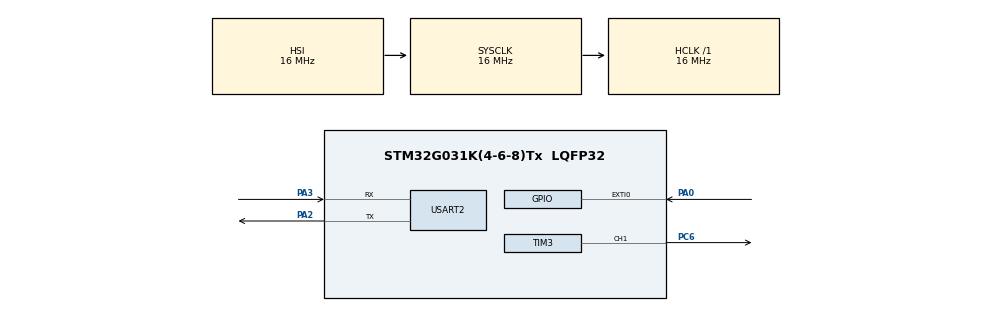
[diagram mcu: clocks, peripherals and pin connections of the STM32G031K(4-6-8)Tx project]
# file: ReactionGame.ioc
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Mcu.Family=STM32G0
Mcu.Name=STM32G031K(4-6-8)Tx
Mcu.Package=LQFP32
NVIC.EXTI0_1_IRQn=true\:0\:0\:false\:false\:true\:true\:true\:true
PA0.GPIO_PuPd=GPIO_PULLDOWN
PA0.Signal=GPXTI0
PA2.Mode=Asynchronous
PA2.Signal=USART2_TX
PA3.Mode=Asynchronous
PA3.Signal=USART2_RX
PC6.Signal=S_TIM3_CH1
ProjectManager.HeapSize=0x200
ProjectManager.StackSize=0x400
ProjectManager.TargetToolchain=STM32CubeIDE
RCC.AHBFreq_Value=16000000
RCC.CortexFreq_Value=16000000
RCC.EXTERNAL_CLOCK_VALUE=12288000
RCC.HCLKFreq_Value=16000000
RCC.HSE_VALUE=8000000
RCC.HSI_VALUE=16000000
RCC.LSE_VALUE=32768
RCC.SYSCLKFreq_VALUE=16000000
RCC.VCOOutputFreq_Value=128000000
SH.S_TIM3_CH1.0=TIM3_CH1,PWM Generation1 CH1
TIM3.Channel-PWM\ Generation1\ CH1=TIM_CHANNEL_1
TIM3.Period=1000
TIM3.Prescaler=15
USART2.VirtualMode-Asynchronous=VM_ASYNC
VP_TIM3_VS_ClockSourceINT.Mode=Internal
board=NUCLEO-G031K8

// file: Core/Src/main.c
/* USER CODE BEGIN Header */
/**
 ******************************************************************************
 * @file           : main.c
 * @brief          : Main program body
 ******************************************************************************
 * @attention
 *
 * Copyright (c) 2026 STMicroelectronics.
 * All rights reserved.
 *
 * This software is licensed under terms that can be found in the LICENSE file
 * in the root directory of this software component.
 * If no LICENSE file comes with this software, it is provided AS-IS.
 *
 ******************************************************************************
 */
/* USER CODE END Header */
#include "main.h"

/* USER CODE BEGIN Includes */

/**
 * Project: STM32 Reflex/Reaction Timer
 * Author: Mert Gungordu
 * Date: Jan 2026
 * Description: A reaction time game using Interrupts, PWM, and UART.
 * Hardware: STM32 Nucleo-G031K8
 */

#include <stdio.h>
/* USER CODE END Includes */

TIM_HandleTypeDef htim3;

UART_HandleTypeDef huart2;

/* USER CODE BEGIN PV */

typedef enum {
	STATE_IDLE, STATE_WAIT_RANDOM, STATE_MEASURING, STATE_SHOW_RESULT
} GameState_t;

volatile GameState_t currentState = STATE_IDLE;
volatile uint32_t startTime = 0;
volatile uint32_t reactionTime = 0;
volatile uint32_t randomDelay = 0;

/* USER CODE END PV */

void SystemClock_Config(void);
static void MX_GPIO_Init(void);
static void MX_USART2_UART_Init(void);
static void MX_TIM3_Init(void);
/* USER CODE BEGIN PFP */
void Breathing_Effect(void);
/* USER CODE END PFP */

/* USER CODE BEGIN 0 */
#ifdef __GNUC__
#define PUTCHAR_PROTOTYPE int __io_putchar(int ch)
#else
#define PUTCHAR_PROTOTYPE int fputc(int ch, FILE *f)
#endif

PUTCHAR_PROTOTYPE {
	HAL_UART_Transmit(&huart2, (uint8_t*) &ch, 1, HAL_MAX_DELAY);
	return ch;
}

// Helper Macros to control LED via PWM
#define LED_ON()  __HAL_TIM_SET_COMPARE(&htim3, TIM_CHANNEL_1, 1000)
#define LED_OFF() __HAL_TIM_SET_COMPARE(&htim3, TIM_CHANNEL_1, 0)

// Helper function to Toggle (since we can't use HAL_GPIO_TogglePin)
void LED_Toggle_PWM(void) {
	// If brightness is > 0, turn it off. Otherwise, turn it on.
	if (__HAL_TIM_GET_COMPARE(&htim3, TIM_CHANNEL_1) > 0) {
		LED_OFF();
	} else {
		LED_ON();
	}
}

/* USER CODE END 0 */

int main(void) {

	/* MCU Configuration--------------------------------------------------------*/

	/* Reset of all peripherals, Initializes the Flash interface and the Systick. */
	HAL_Init();

	/* Configure the system clock */
	SystemClock_Config();

	/* Initialize all configured peripherals */
	MX_GPIO_Init();
	MX_USART2_UART_Init();
	MX_TIM3_Init();
	/* USER CODE BEGIN 2 */
	HAL_TIM_PWM_Start(&htim3, TIM_CHANNEL_1);
	/* USER CODE END 2 */

	/* Infinite loop */
	while (1) {
		switch (currentState) {

		case STATE_IDLE:
			Breathing_Effect(); // Create breathing effect on led
			break;

		case STATE_WAIT_RANDOM:
			LED_OFF(); // Visual Cue: LED goes dark. Wait for the signal.

			randomDelay = 2000 + (HAL_GetTick() % 3000);
			for (int i = 0; i < randomDelay / 10; i++) {
				HAL_Delay(10);
				if (currentState == STATE_IDLE)
					break;
			}

			if (currentState == STATE_WAIT_RANDOM) {
				currentState = STATE_MEASURING;
				startTime = HAL_GetTick();
				LED_ON(); // Stimulus: LED ON! (The "Go" signal)
			}
			break;

		case STATE_MEASURING:
			if ((HAL_GetTick() - startTime) > 2000) {
				currentState = STATE_IDLE;
			}
			break;

		case STATE_SHOW_RESULT:
			printf("Game Over! Reaction Time: %lu ms\r\n", reactionTime);

			if (reactionTime < 250) {
				printf("Result: Congratulations, FAST! (Winner)\r\n");
				for (int i = 0; i < 10; i++) {
					LED_Toggle_PWM(); // Replaces TogglePin
					HAL_Delay(50);
				}
			} else {
				printf("Result: Too Slow.\r\n");
				LED_OFF();
				for (int i = 0; i < 3; i++) {
					LED_Toggle_PWM(); // Replaces TogglePin
					HAL_Delay(300);
				}
			}
			printf("--------------------------------\r\n");
			currentState = STATE_IDLE;
			break;
		}
	}

}

void SystemClock_Config(void) {
	RCC_OscInitTypeDef RCC_OscInitStruct = { 0 };
	RCC_ClkInitTypeDef RCC_ClkInitStruct = { 0 };

	/** Configure the main internal regulator output voltage
	 */
	HAL_PWREx_ControlVoltageScaling(PWR_REGULATOR_VOLTAGE_SCALE1);

	/** Initializes the RCC Oscillators according to the specified parameters
	 * in the RCC_OscInitTypeDef structure.
	 */
	RCC_OscInitStruct.OscillatorType = RCC_OSCILLATORTYPE_HSI;
	RCC_OscInitStruct.HSIState = RCC_HSI_ON;
	RCC_OscInitStruct.HSIDiv = RCC_HSI_DIV1;
	RCC_OscInitStruct.HSICalibrationValue = RCC_HSICALIBRATION_DEFAULT;
	RCC_OscInitStruct.PLL.PLLState = RCC_PLL_NONE;
	if (HAL_RCC_OscConfig(&RCC_OscInitStruct) != HAL_OK) {
		Error_Handler();
	}

	/** Initializes the CPU, AHB and APB buses clocks
	 */
	RCC_ClkInitStruct.ClockType = RCC_CLOCKTYPE_HCLK | RCC_CLOCKTYPE_SYSCLK
			| RCC_CLOCKTYPE_PCLK1;
	RCC_ClkInitStruct.SYSCLKSource = RCC_SYSCLKSOURCE_HSI;
	RCC_ClkInitStruct.AHBCLKDivider = RCC_SYSCLK_DIV1;
	RCC_ClkInitStruct.APB1CLKDivider = RCC_HCLK_DIV1;

	if (HAL_RCC_ClockConfig(&RCC_ClkInitStruct, FLASH_LATENCY_0) != HAL_OK) {
		Error_Handler();
	}
}

static void MX_TIM3_Init(void) {

	TIM_ClockConfigTypeDef sClockSourceConfig = { 0 };
	TIM_MasterConfigTypeDef sMasterConfig = { 0 };
	TIM_OC_InitTypeDef sConfigOC = { 0 };

	htim3.Instance = TIM3;
	htim3.Init.Prescaler = 15;
	htim3.Init.CounterMode = TIM_COUNTERMODE_UP;
	htim3.Init.Period = 1000;
	htim3.Init.ClockDivision = TIM_CLOCKDIVISION_DIV1;
	htim3.Init.AutoReloadPreload = TIM_AUTORELOAD_PRELOAD_DISABLE;
	if (HAL_TIM_Base_Init(&htim3) != HAL_OK) {
		Error_Handler();
	}
	sClockSourceConfig.ClockSource = TIM_CLOCKSOURCE_INTERNAL;
	if (HAL_TIM_ConfigClockSource(&htim3, &sClockSourceConfig) != HAL_OK) {
		Error_Handler();
	}
	if (HAL_TIM_PWM_Init(&htim3) != HAL_OK) {
		Error_Handler();
	}
	sMasterConfig.MasterOutputTrigger = TIM_TRGO_RESET;
	sMasterConfig.MasterSlaveMode = TIM_MASTERSLAVEMODE_DISABLE;
	if (HAL_TIMEx_MasterConfigSynchronization(&htim3, &sMasterConfig)
			!= HAL_OK) {
		Error_Handler();
	}
	sConfigOC.OCMode = TIM_OCMODE_PWM1;
	sConfigOC.Pulse = 0;
	sConfigOC.OCPolarity = TIM_OCPOLARITY_HIGH;
	sConfigOC.OCFastMode = TIM_OCFAST_DISABLE;
	if (HAL_TIM_PWM_ConfigChannel(&htim3, &sConfigOC, TIM_CHANNEL_1)
			!= HAL_OK) {
		Error_Handler();
	}
	HAL_TIM_MspPostInit(&htim3);

}

static void MX_USART2_UART_Init(void) {

	huart2.Instance = USART2;
	huart2.Init.BaudRate = 115200;
	huart2.Init.WordLength = UART_WORDLENGTH_8B;
	huart2.Init.StopBits = UART_STOPBITS_1;
	huart2.Init.Parity = UART_PARITY_NONE;
	huart2.Init.Mode = UART_MODE_TX_RX;
	huart2.Init.HwFlowCtl = UART_HWCONTROL_NONE;
	huart2.Init.OverSampling = UART_OVERSAMPLING_16;
	huart2.Init.OneBitSampling = UART_ONE_BIT_SAMPLE_DISABLE;
	huart2.Init.ClockPrescaler = UART_PRESCALER_DIV1;
	huart2.AdvancedInit.AdvFeatureInit = UART_ADVFEATURE_NO_INIT;
	if (HAL_UART_Init(&huart2) != HAL_OK) {
		Error_Handler();
	}

}

static void MX_GPIO_Init(void) {
	GPIO_InitTypeDef GPIO_InitStruct = { 0 };

	/* GPIO Ports Clock Enable */
	__HAL_RCC_GPIOA_CLK_ENABLE();
	__HAL_RCC_GPIOC_CLK_ENABLE();

	/*Configure GPIO pin : PA0 */
	GPIO_InitStruct.Pin = GPIO_PIN_0;
	GPIO_InitStruct.Mode = GPIO_MODE_IT_RISING;
	GPIO_InitStruct.Pull = GPIO_PULLDOWN;
	HAL_GPIO_Init(GPIOA, &GPIO_InitStruct);

	/* EXTI interrupt init*/
	HAL_NVIC_SetPriority(EXTI0_1_IRQn, 0, 0);
	HAL_NVIC_EnableIRQ(EXTI0_1_IRQn);

}

/* USER CODE BEGIN 4 */
volatile uint32_t last_press_time = 0;

void HAL_GPIO_EXTI_Rising_Callback(uint16_t GPIO_Pin) {
	if (GPIO_Pin == GPIO_PIN_0) {
		uint32_t now = HAL_GetTick();

		// 1. Debounce (Ignore noise < 200ms)
		if ((now - last_press_time) < 200)
			return;
		last_press_time = now;

		// 2. State Logic
		switch (currentState) {
		case STATE_IDLE:
			// Just reset brightness to 0 (Dark) immediately
			LED_OFF();

			currentState = STATE_WAIT_RANDOM;
			break;

		case STATE_WAIT_RANDOM:
			// CHEATER! Pressed before LED turned on.
			// Reset game immediately.
			currentState = STATE_IDLE;
			break;

		case STATE_MEASURING:
			// STOP THE TIMER!
			reactionTime = now - startTime;
			currentState = STATE_SHOW_RESULT;
			break;

		case STATE_SHOW_RESULT:
			// Ignore clicks during the score display
			break;
		}
	}
}

void Breathing_Effect(void) {
	static int brightness = 0;
	static int step = 10; // How fast to change brightness

	// Change brightness
	brightness += step;

	// Reverse direction at limits
	if (brightness >= 1000)
		step = -10;
	if (brightness <= 0)
		step = 10;

	// Update the Hardware Timer Comparator
	// This physically changes the duty cycle on the pin
	__HAL_TIM_SET_COMPARE(&htim3, TIM_CHANNEL_1, brightness);

	HAL_Delay(10); // Smoothness speed
}

/* USER CODE END 4 */

void Error_Handler(void) {
	__disable_irq();
	while (1) {
	}
}
